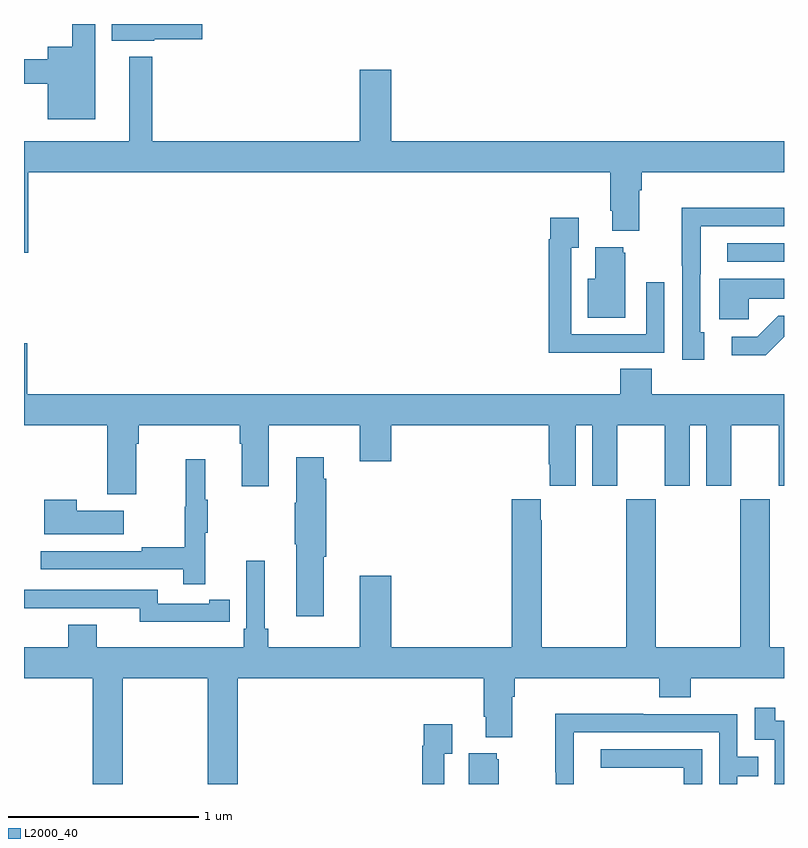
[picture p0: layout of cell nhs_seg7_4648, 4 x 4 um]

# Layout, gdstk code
import gdstk
lib = gdstk.Library(unit=1e-6, precision=1e-09)
def R(c, l, rs):  # rectangles x0, y0, x1, y1
    for r in rs: c.add(gdstk.rectangle(r[:2], r[2:], *l))
def P(c, l, *ps):  # polygons
    for p in ps: c.add(gdstk.Polygon(p, *l))
L2000_40 = (2000, 40)

nhs_seg7_4648 = lib.new_cell('nhs_seg7_4648')
R(nhs_seg7_4648, L2000_40, [(406.701,1062.75,407,1062.846)])
P(nhs_seg7_4648, L2000_40, [(403.375,1064),(403.254,1064),(403.254,1063.879),(403.124,1063.879),(403.124,1063.814),(403,1063.814),(403,1063.686),(403.124,1063.686),(403.124,1063.499),(403.375,1063.499)],
  [(403.686,1063.919),(403.939,1063.919),(403.939,1064),(403.463,1064),(403.463,1063.913),(403.686,1063.913)],
  [(403.022,1063.22),(406.085,1063.22),(406.085,1063.018),(406.097,1063.018),(406.097,1062.911),(406.237,1062.911),(406.237,1063.124),(406.25,1063.124),(406.25,1063.22),(407,1063.22),(407,1063.384),(404.932,1063.384),(404.932,1063.759),(404.768,1063.759),(404.768,1063.384),(403.675,1063.384),(403.675,1063.828),(403.553,1063.828),(403.553,1063.384),(403,1063.384),(403,1062.795),(403.022,1062.795)],
  [(406.579,1062.378),(406.56,1062.378),(406.56,1062.682),(406.561,1062.682),(406.561,1062.936),(407,1062.936),(407,1063.032),(406.925,1063.032),(406.925,1063.034),(406.462,1063.034),(406.462,1062.727),(406.464,1062.727),(406.464,1062.234),(406.579,1062.234)],
  [(406.055,1062.27),(406.371,1062.27),(406.371,1062.64),(406.275,1062.64),(406.275,1062.366),(405.879,1062.366),(405.879,1062.823),(405.919,1062.823),(405.919,1062.979),(405.771,1062.979),(405.771,1062.866),(405.763,1062.866),(405.763,1062.269),(406.055,1062.269)],
  [(406.165,1062.795),(406.154,1062.795),(406.154,1062.826),(406.007,1062.826),(406.007,1062.658),(405.968,1062.658),(405.968,1062.455),(406.165,1062.455)],
  [(406.815,1062.554),(407,1062.554),(407,1062.658),(406.658,1062.658),(406.658,1062.446),(406.815,1062.446)],
  [(407,1062.353),(407,1062.465),(406.97,1062.465),(406.859,1062.354),(406.725,1062.354),(406.725,1062.257),(406.903,1062.257)],
  [(403.591,1061.792),(403.604,1061.792),(403.604,1061.888),(404.135,1061.888),(404.135,1061.792),(404.147,1061.792),(404.147,1061.568),(404.287,1061.568),(404.287,1061.888),(404.768,1061.888),(404.768,1061.7),(404.932,1061.7),(404.932,1061.888),(405.761,1061.888),(405.761,1061.683),(405.767,1061.683),(405.767,1061.571),(405.904,1061.571),(405.904,1061.888),(405.992,1061.888),(405.992,1061.571),(406.123,1061.571),(406.123,1061.888),(406.373,1061.888),(406.373,1061.571),(406.504,1061.571),(406.504,1061.888),(406.592,1061.888),(406.592,1061.571),(406.723,1061.571),(406.723,1061.888),(406.973,1061.888),(406.973,1061.571),(407,1061.571),(407,1062.052),(406.304,1062.052),(406.304,1062.185),(406.139,1062.185),(406.139,1062.052),(403.016,1062.052),(403.016,1062.319),(403,1062.319),(403,1061.888),(403.439,1061.888),(403.439,1061.526),(403.591,1061.526)],
  [(404.578,1061.196),(404.591,1061.196),(404.591,1061.606),(404.578,1061.606),(404.578,1061.719),(404.432,1061.719),(404.432,1061.48),(404.425,1061.48),(404.425,1061.263),(404.432,1061.263),(404.432,1060.884),(404.578,1060.884)],
  [(403.955,1061.323),(403.966,1061.323),(403.966,1061.497),(403.955,1061.497),(403.955,1061.71),(403.852,1061.71),(403.852,1061.46),(403.845,1061.46),(403.845,1061.246),(403.621,1061.246),(403.621,1061.226),(403.089,1061.226),(403.089,1061.13),(403.837,1061.13),(403.837,1061.052),(403.955,1061.052)],
  [(403.521,1060.556),(403.966,1060.556),(403.966,1060),(404.126,1060),(404.126,1060.556),(405.419,1060.556),(405.419,1060.354),(405.431,1060.354),(405.431,1060.247),(405.571,1060.247),(405.571,1060.46),(405.584,1060.46),(405.584,1060.556),(406.343,1060.556),(406.343,1060.457),(406.508,1060.457),(406.508,1060.556),(407,1060.556),(407,1060.72),(406.926,1060.72),(406.926,1061.5),(406.771,1061.5),(406.771,1060.72),(406.326,1060.72),(406.326,1061.5),(406.171,1061.5),(406.171,1060.72),(405.726,1060.72),(405.726,1061.387),(405.721,1061.387),(405.721,1061.5),(405.566,1061.5),(405.566,1060.72),(404.932,1060.72),(404.932,1061.095),(404.768,1061.095),(404.768,1060.72),(404.285,1060.72),(404.285,1060.816),(404.266,1060.816),(404.266,1061.176),(404.169,1061.176),(404.169,1060.816),(404.156,1060.816),(404.156,1060.72),(403.384,1060.72),(403.384,1060.837),(403.232,1060.837),(403.232,1060.72),(403,1060.72),(403,1060.556),(403.361,1060.556),(403.361,1060),(403.521,1060)],
  [(403.525,1061.437),(403.277,1061.437),(403.277,1061.497),(403.106,1061.497),(403.106,1061.315),(403.525,1061.315)],
  [(403.976,1060.854),(404.084,1060.854),(404.084,1060.97),(403.976,1060.97),(403.976,1060.95),(403.704,1060.95),(403.704,1061.022),(403,1061.022),(403,1060.925),(403.148,1060.925),(403.148,1060.926),(403.608,1060.926),(403.608,1060.853),(403.976,1060.853)],
  [(407,1060.332),(406.954,1060.332),(406.954,1060.402),(406.845,1060.402),(406.845,1060.233),(406.95,1060.233),(406.95,1060.004),(406.949,1060.004),(406.949,1060),(407,1060)],
  [(405.894,1060.272),(406.659,1060.272),(406.659,1060),(406.755,1060),(406.755,1060.042),(406.865,1060.042),(406.865,1060.143),(406.755,1060.143),(406.755,1060.368),(406.259,1060.368),(406.259,1060.37),(405.796,1060.37),(405.796,1060.063),(405.798,1060.063),(405.798,1060),(405.894,1060)],
  [(405.213,1060.159),(405.253,1060.159),(405.253,1060.315),(405.105,1060.315),(405.105,1060.202),(405.097,1060.202),(405.097,1060),(405.213,1060)],
  [(406.569,1060.182),(406.035,1060.182),(406.035,1060.086),(406.473,1060.086),(406.473,1060),(406.569,1060)],
  [(405.499,1060.131),(405.488,1060.131),(405.488,1060.162),(405.341,1060.162),(405.341,1060),(405.499,1060)])

lib.write_gds('nhs_seg7_4648.gds')
